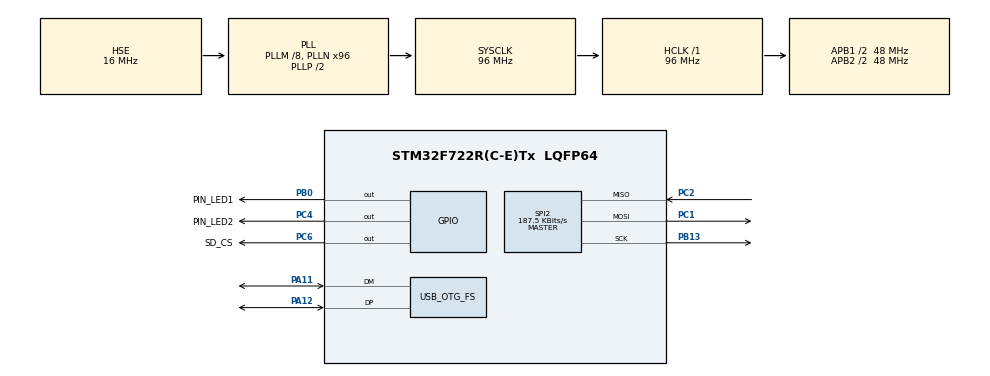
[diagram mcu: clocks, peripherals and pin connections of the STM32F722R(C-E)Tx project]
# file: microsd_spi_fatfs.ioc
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Mcu.Family=STM32F7
Mcu.Name=STM32F722R(C-E)Tx
Mcu.Package=LQFP64
NVIC.OTG_FS_IRQn=true\:0\:0\:false\:false\:true\:false\:true\:true
NVIC.PriorityGroup=NVIC_PRIORITYGROUP_4
PA11.Mode=Device_Only
PA11.Signal=USB_OTG_FS_DM
PA12.Mode=Device_Only
PA12.Signal=USB_OTG_FS_DP
PA13.Mode=Serial_Wire
PA13.Signal=SYS_JTMS-SWDIO
PA14.Mode=Serial_Wire
PA14.Signal=SYS_JTCK-SWCLK
PB0.GPIO_Label=PIN_LED1
PB0.Signal=GPIO_Output
PB13.GPIO_PuPd=GPIO_PULLUP
PB13.GPIO_Speed=GPIO_SPEED_FREQ_LOW
PB13.Mode=Full_Duplex_Master
PB13.Signal=SPI2_SCK
PC1.GPIO_PuPd=GPIO_PULLUP
PC1.GPIO_Speed=GPIO_SPEED_FREQ_LOW
PC1.Mode=Full_Duplex_Master
PC1.Signal=SPI2_MOSI
PC14-OSC32_IN.Mode=LSE-External-Oscillator
PC14-OSC32_IN.Signal=RCC_OSC32_IN
PC15-OSC32_OUT.Mode=LSE-External-Oscillator
PC15-OSC32_OUT.Signal=RCC_OSC32_OUT
PC2.GPIO_PuPd=GPIO_PULLUP
PC2.GPIO_Speed=GPIO_SPEED_FREQ_LOW
PC2.Mode=Full_Duplex_Master
PC2.Signal=SPI2_MISO
PC4.GPIO_Label=PIN_LED2
PC4.Signal=GPIO_Output
PC6.GPIO_Label=SD_CS
PC6.GPIO_PuPd=GPIO_PULLUP
PC6.PinState=GPIO_PIN_SET
PC6.Signal=GPIO_Output
PH0-OSC_IN.Mode=HSE-External-Oscillator
PH0-OSC_IN.Signal=RCC_OSC_IN
PH1-OSC_OUT.Mode=HSE-External-Oscillator
PH1-OSC_OUT.Signal=RCC_OSC_OUT
ProjectManager.HeapSize=0x200
ProjectManager.StackSize=0x400
ProjectManager.TargetToolchain=STM32CubeIDE
RCC.AHBFreq_Value=96000000
RCC.APB1CLKDivider=RCC_HCLK_DIV2
RCC.APB1Freq_Value=48000000
RCC.APB1TimFreq_Value=96000000
RCC.APB2CLKDivider=RCC_HCLK_DIV2
RCC.APB2Freq_Value=48000000
RCC.APB2TimFreq_Value=96000000
RCC.CortexFreq_Value=96000000
RCC.HCLKFreq_Value=96000000
RCC.HSE_VALUE=16000000
RCC.HSI_VALUE=16000000
RCC.PLLM=8
RCC.PLLN=96
RCC.PLLQ=4
RCC.PWREXT_OverDrive=PWREXT_OverDrive_ACTIVATED
RCC.PWR_Regulator_Voltage_Scale=PWR_REGULATOR_VOLTAGE_SCALE1
RCC.SYSCLKFreq_VALUE=96000000
RCC.SYSCLKSource=RCC_SYSCLKSOURCE_PLLCLK
RCC.USBFreq_Value=48000000
RCC.VCOOutputFreq_Value=192000000
SPI2.BaudRatePrescaler=SPI_BAUDRATEPRESCALER_256
SPI2.CalculateBaudRate=187.5 KBits/s
SPI2.DataSize=SPI_DATASIZE_8BIT
SPI2.Direction=SPI_DIRECTION_2LINES
SPI2.Mode=SPI_MODE_MASTER
SPI2.VirtualType=VM_MASTER
USB_DEVICE.CLASS_NAME_FS=CDC
USB_DEVICE.VirtualMode-CDC_FS=Cdc
USB_DEVICE.VirtualModeFS=Cdc_FS
USB_OTG_FS.VirtualMode=Device_Only
VP_FATFS_VS_Generic.Mode=User_defined
VP_USB_DEVICE_VS_USB_DEVICE_CDC_FS.Mode=CDC_FS
board=custom

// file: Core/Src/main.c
/* USER CODE BEGIN Header */
/**
  ******************************************************************************
  * @file           : main.c
  * @brief          : Main program body
  ******************************************************************************
  * @attention
  *
  * Copyright (c) 2025 STMicroelectronics.
  * All rights reserved.
  *
  * This software is licensed under terms that can be found in the LICENSE file
  * in the root directory of this software component.
  * If no LICENSE file comes with this software, it is provided AS-IS.
  *
  ******************************************************************************
  */
/* USER CODE END Header */
#include "main.h"
#include "fatfs.h"
#include "usb_device.h"

/* USER CODE BEGIN Includes */
// reference: https://www.youtube.com/watch?v=PBIm8BCnbyQ
#include <stdio.h>
#include <string.h>
#include <stdarg.h>

/* USER CODE END Includes */

SPI_HandleTypeDef hspi2;

/* USER CODE BEGIN PV */
uint8_t init[] = "example - FZ!\r\n";
uint8_t data[] = "In while loop!\r\n";

/* USER CODE END PV */

void SystemClock_Config(void);
static void MX_GPIO_Init(void);
static void MX_SPI2_Init(void);
/* USER CODE BEGIN PFP */
// void myprintf(const char *fmt, ...);
/* USER CODE END PFP */

int main(void)
{

  /* MCU Configuration--------------------------------------------------------*/

  /* Reset of all peripherals, Initializes the Flash interface and the Systick. */
  HAL_Init();

  /* Configure the system clock */
  SystemClock_Config();

  /* Initialize all configured peripherals */
  MX_GPIO_Init();
  MX_SPI2_Init();
  MX_FATFS_Init();
  MX_USB_DEVICE_Init();
  /* USER CODE BEGIN 2 */

  HAL_Delay(500);
  printf("tst - FZ !\r\n");
  HAL_Delay(1000); //a short delay is important to let the SD card settle

  //some variables for FatFs
  FATFS FatFs; 	//Fatfs handle
  FIL fil; 		//File handle
  FRESULT fres; //Result after operations

  //Open the file system
  fres = f_mount(&FatFs, "", 1); //1 = mount now
  if (fres != FR_OK) {
    printf("f_mount error (%i)\r\n", fres);
    while(1);
  }

  //Let's get some statistics from the SD card
  DWORD free_clusters, free_sectors, total_sectors;

  FATFS* getFreeFs;

  fres = f_getfree("", &free_clusters, &getFreeFs);
  if (fres != FR_OK) {
  printf("f_getfree error (%i)\r\n", fres);
  while(1);
  }

  //Formula comes from ChaN's documentation
  total_sectors = (getFreeFs->n_fatent - 2) * getFreeFs->csize;
  free_sectors = free_clusters * getFreeFs->csize;

  printf("SD card stats:\r\n%10lu KiB total drive space.\r\n%10lu KiB available.\r\n", total_sectors / 2, free_sectors / 2);

  //Now let's try to open file "test.txt"
  fres = f_open(&fil, "test.txt", FA_READ);
  if (fres != FR_OK) {
  printf("f_open error (%i)\r\n", fres);
  while(1);
  }
  printf("I was able to open 'test.txt' for reading!\r\n");

  //Read 30 bytes from "test.txt" on the SD card
  BYTE readBuf[30];

  //We can either use f_read OR f_gets to get data out of files
  //f_gets is a wrapper on f_read that does some string formatting for us
  TCHAR* rres = f_gets((TCHAR*)readBuf, 30, &fil);
  if(rres != 0) {
  printf("Read string from 'test.txt' contents: %s\r\n", readBuf);
  } else {
  printf("f_gets error (%i)\r\n", fres);
  }

  //Be a tidy kiwi - don't forget to close your file!
  f_close(&fil);

  //Now let's try and write a file "write.txt"
  fres = f_open(&fil, "write.txt", FA_WRITE | FA_OPEN_ALWAYS | FA_CREATE_ALWAYS);
  if(fres == FR_OK) {
  printf("I was able to open 'write.txt' for writing\r\n");
  } else {
  printf("f_open error (%i)\r\n", fres);
  }

  //Copy in a string
  strncpy((char*)readBuf, "a new file is made! - FZ", 24);
  UINT bytesWrote;
  fres = f_write(&fil, readBuf, 19, &bytesWrote);
  if(fres == FR_OK) {
  printf("Wrote %i bytes to 'write.txt'!\r\n", bytesWrote);
  } else {
  printf("f_write error (%i)\r\n", fres);
  }

  //Be a tidy kiwi - don't forget to close your file!
  f_close(&fil);

  //We're done, so de-mount the drive
  f_mount(NULL, "", 0);

  /* USER CODE END 2 */

  /* Infinite loop */
  while (1) {

    /* USER CODE BEGIN 3 */
    //Toogle the LED every second
    HAL_GPIO_TogglePin(PIN_LED1_GPIO_Port, PIN_LED1_Pin);
    printf("in while loop!\r\n");
    HAL_Delay(500);
  }
  /* USER CODE END 3 */
}

void SystemClock_Config(void)
{
  RCC_OscInitTypeDef RCC_OscInitStruct = {0};
  RCC_ClkInitTypeDef RCC_ClkInitStruct = {0};

  /** Configure LSE Drive Capability
  */
  HAL_PWR_EnableBkUpAccess();

  /** Configure the main internal regulator output voltage
  */
  __HAL_RCC_PWR_CLK_ENABLE();
  __HAL_PWR_VOLTAGESCALING_CONFIG(PWR_REGULATOR_VOLTAGE_SCALE1);

  /** Initializes the RCC Oscillators according to the specified parameters
  * in the RCC_OscInitTypeDef structure.
  */
  RCC_OscInitStruct.OscillatorType = RCC_OSCILLATORTYPE_HSE;
  RCC_OscInitStruct.HSEState = RCC_HSE_ON;
  RCC_OscInitStruct.PLL.PLLState = RCC_PLL_ON;
  RCC_OscInitStruct.PLL.PLLSource = RCC_PLLSOURCE_HSE;
  RCC_OscInitStruct.PLL.PLLM = 8;
  RCC_OscInitStruct.PLL.PLLN = 96;
  RCC_OscInitStruct.PLL.PLLP = RCC_PLLP_DIV2;
  RCC_OscInitStruct.PLL.PLLQ = 4;
  if (HAL_RCC_OscConfig(&RCC_OscInitStruct) != HAL_OK)
  {
    Error_Handler();
  }

  /** Activate the Over-Drive mode
  */
  if (HAL_PWREx_EnableOverDrive() != HAL_OK)
  {
    Error_Handler();
  }

  /** Initializes the CPU, AHB and APB buses clocks
  */
  RCC_ClkInitStruct.ClockType = RCC_CLOCKTYPE_HCLK|RCC_CLOCKTYPE_SYSCLK
                              |RCC_CLOCKTYPE_PCLK1|RCC_CLOCKTYPE_PCLK2;
  RCC_ClkInitStruct.SYSCLKSource = RCC_SYSCLKSOURCE_PLLCLK;
  RCC_ClkInitStruct.AHBCLKDivider = RCC_SYSCLK_DIV1;
  RCC_ClkInitStruct.APB1CLKDivider = RCC_HCLK_DIV2;
  RCC_ClkInitStruct.APB2CLKDivider = RCC_HCLK_DIV2;

  if (HAL_RCC_ClockConfig(&RCC_ClkInitStruct, FLASH_LATENCY_3) != HAL_OK)
  {
    Error_Handler();
  }
}

static void MX_SPI2_Init(void)
{

  /* SPI2 parameter configuration*/
  hspi2.Instance = SPI2;
  hspi2.Init.Mode = SPI_MODE_MASTER;
  hspi2.Init.Direction = SPI_DIRECTION_2LINES;
  hspi2.Init.DataSize = SPI_DATASIZE_8BIT;
  hspi2.Init.CLKPolarity = SPI_POLARITY_LOW;
  hspi2.Init.CLKPhase = SPI_PHASE_1EDGE;
  hspi2.Init.NSS = SPI_NSS_SOFT;
  hspi2.Init.BaudRatePrescaler = SPI_BAUDRATEPRESCALER_256;
  hspi2.Init.FirstBit = SPI_FIRSTBIT_MSB;
  hspi2.Init.TIMode = SPI_TIMODE_DISABLE;
  hspi2.Init.CRCCalculation = SPI_CRCCALCULATION_DISABLE;
  hspi2.Init.CRCPolynomial = 7;
  hspi2.Init.CRCLength = SPI_CRC_LENGTH_DATASIZE;
  hspi2.Init.NSSPMode = SPI_NSS_PULSE_ENABLE;
  if (HAL_SPI_Init(&hspi2) != HAL_OK)
  {
    Error_Handler();
  }

}

static void MX_GPIO_Init(void)
{
  GPIO_InitTypeDef GPIO_InitStruct = {0};

  /* GPIO Ports Clock Enable */
  __HAL_RCC_GPIOC_CLK_ENABLE();
  __HAL_RCC_GPIOH_CLK_ENABLE();
  __HAL_RCC_GPIOB_CLK_ENABLE();
  __HAL_RCC_GPIOA_CLK_ENABLE();

  /*Configure GPIO pin Output Level */
  HAL_GPIO_WritePin(PIN_LED2_GPIO_Port, PIN_LED2_Pin, GPIO_PIN_RESET);

  /*Configure GPIO pin Output Level */
  HAL_GPIO_WritePin(PIN_LED1_GPIO_Port, PIN_LED1_Pin, GPIO_PIN_RESET);

  /*Configure GPIO pin Output Level */
  HAL_GPIO_WritePin(SD_CS_GPIO_Port, SD_CS_Pin, GPIO_PIN_SET);

  /*Configure GPIO pin : PIN_LED2_Pin */
  GPIO_InitStruct.Pin = PIN_LED2_Pin;
  GPIO_InitStruct.Mode = GPIO_MODE_OUTPUT_PP;
  GPIO_InitStruct.Pull = GPIO_NOPULL;
  GPIO_InitStruct.Speed = GPIO_SPEED_FREQ_LOW;
  HAL_GPIO_Init(PIN_LED2_GPIO_Port, &GPIO_InitStruct);

  /*Configure GPIO pin : PIN_LED1_Pin */
  GPIO_InitStruct.Pin = PIN_LED1_Pin;
  GPIO_InitStruct.Mode = GPIO_MODE_OUTPUT_PP;
  GPIO_InitStruct.Pull = GPIO_NOPULL;
  GPIO_InitStruct.Speed = GPIO_SPEED_FREQ_LOW;
  HAL_GPIO_Init(PIN_LED1_GPIO_Port, &GPIO_InitStruct);

  /*Configure GPIO pin : SD_CS_Pin */
  GPIO_InitStruct.Pin = SD_CS_Pin;
  GPIO_InitStruct.Mode = GPIO_MODE_OUTPUT_PP;
  GPIO_InitStruct.Pull = GPIO_PULLUP;
  GPIO_InitStruct.Speed = GPIO_SPEED_FREQ_LOW;
  HAL_GPIO_Init(SD_CS_GPIO_Port, &GPIO_InitStruct);

}

void Error_Handler(void)
{
  __disable_irq();
  while (1)
  {
  }
}
